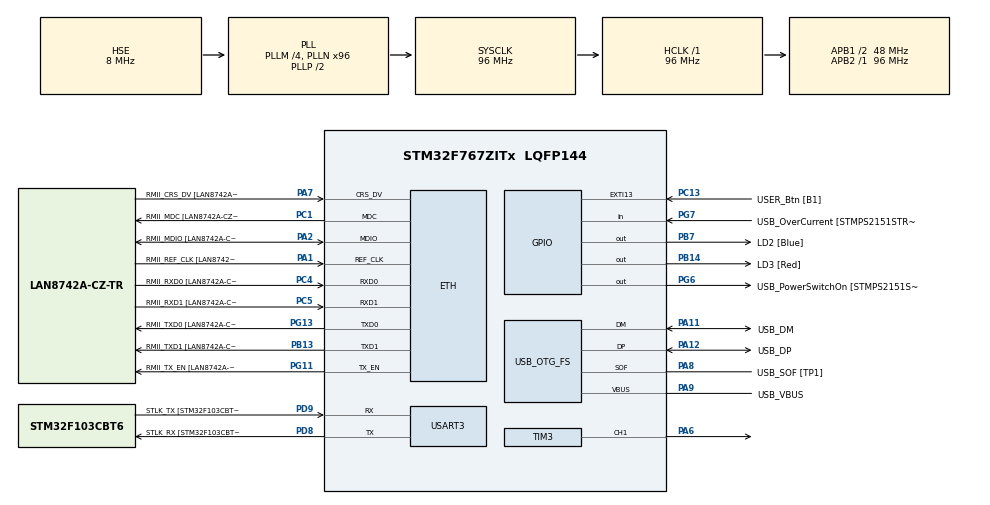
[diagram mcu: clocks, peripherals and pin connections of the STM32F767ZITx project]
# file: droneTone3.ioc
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ETH.MediaInterface=ETH_MEDIA_INTERFACE_RMII
ETH.PHY_Name=LAN8742A_PHY_ADDRESS
ETH.PHY_Value=0
ETH.PhyAddress=0
Mcu.Family=STM32F7
Mcu.Name=STM32F767ZITx
Mcu.Package=LQFP144
NVIC.PriorityGroup=NVIC_PRIORITYGROUP_4
PA1.GPIO_Label=RMII_REF_CLK [LAN8742A-CZ-TR_REFCLK0]
PA1.Mode=RMII
PA1.Signal=ETH_REF_CLK
PA10.GPIO_Label=USB_ID
PA10.Signal=USB_OTG_FS_ID
PA11.GPIO_Label=USB_DM
PA11.Mode=Device_Only
PA11.Signal=USB_OTG_FS_DM
PA12.GPIO_Label=USB_DP
PA12.Mode=Device_Only
PA12.Signal=USB_OTG_FS_DP
PA13.GPIO_Label=TMS
PA13.Mode=Serial_Wire
PA13.Signal=SYS_JTMS-SWDIO
PA14.GPIO_Label=TCK
PA14.Mode=Serial_Wire
PA14.Signal=SYS_JTCK-SWCLK
PA2.GPIO_Label=RMII_MDIO [LAN8742A-CZ-TR_MDIO]
PA2.Mode=RMII
PA2.Signal=ETH_MDIO
PA6.Signal=S_TIM3_CH1
PA7.GPIO_Label=RMII_CRS_DV [LAN8742A-CZ-TR_CRS_DV]
PA7.Mode=RMII
PA7.Signal=ETH_CRS_DV
PA8.GPIO_Label=USB_SOF [TP1]
PA8.Mode=Activate_SOF_FS
PA8.Signal=USB_OTG_FS_SOF
PA9.GPIO_Label=USB_VBUS
PA9.Mode=Activate_VBUS
PA9.Signal=USB_OTG_FS_VBUS
PB13.GPIO_Label=RMII_TXD1 [LAN8742A-CZ-TR_TXD1]
PB13.Mode=RMII
PB13.Signal=ETH_TXD1
PB14.GPIO_Label=LD3 [Red]
PB14.Signal=GPIO_Output
PB3.GPIO_Label=SWO
PB3.Signal=SYS_JTDO-SWO
PB7.GPIO_Label=LD2 [Blue]
PB7.Signal=GPIO_Output
PC1.GPIO_Label=RMII_MDC [LAN8742A-CZ-TR_MDC]
PC1.Mode=RMII
PC1.Signal=ETH_MDC
PC13.GPIO_Label=USER_Btn [B1]
PC13.Signal=GPXTI13
PC14/OSC32_IN.Mode=LSE-External-Oscillator
PC14/OSC32_IN.Signal=RCC_OSC32_IN
PC15/OSC32_OUT.Mode=LSE-External-Oscillator
PC15/OSC32_OUT.Signal=RCC_OSC32_OUT
PC4.GPIO_Label=RMII_RXD0 [LAN8742A-CZ-TR_RXD0]
PC4.Mode=RMII
PC4.Signal=ETH_RXD0
PC5.GPIO_Label=RMII_RXD1 [LAN8742A-CZ-TR_RXD1]
PC5.Mode=RMII
PC5.Signal=ETH_RXD1
PD8.GPIO_Label=STLK_RX [STM32F103CBT6_PA3]
PD8.Mode=Asynchronous
PD8.Signal=USART3_TX
PD9.GPIO_Label=STLK_TX [STM32F103CBT6_PA2]
PD9.Mode=Asynchronous
PD9.Signal=USART3_RX
PG11.GPIO_Label=RMII_TX_EN [LAN8742A-CZ-TR_TXEN]
PG11.Mode=RMII
PG11.Signal=ETH_TX_EN
PG13.GPIO_Label=RMII_TXD0 [LAN8742A-CZ-TR_TXD0]
PG13.Mode=RMII
PG13.Signal=ETH_TXD0
PG6.GPIO_Label=USB_PowerSwitchOn [STMPS2151STR_EN]
PG6.Signal=GPIO_Output
PG7.GPIO_Label=USB_OverCurrent [STMPS2151STR_FAULT]
PG7.Signal=GPIO_Input
PH0/OSC_IN.GPIO_Label=MCO [STM32F103CBT6_PA8]
PH0/OSC_IN.Mode=HSE-External-Clock-Source
PH0/OSC_IN.Signal=RCC_OSC_IN
PH1/OSC_OUT.Mode=HSE-External-Clock-Source
PH1/OSC_OUT.Signal=RCC_OSC_OUT
ProjectManager.HeapSize=0x200
ProjectManager.StackSize=0x400
ProjectManager.TargetToolchain=EWARM V8
RCC.48MHZClocksFreq_Value=24000000
RCC.AHBFreq_Value=96000000
RCC.APB1CLKDivider=RCC_HCLK_DIV2
RCC.APB1Freq_Value=48000000
RCC.APB1TimFreq_Value=96000000
RCC.APB2Freq_Value=96000000
RCC.APB2TimFreq_Value=96000000
RCC.CortexFreq_Value=96000000
RCC.HCLKFreq_Value=96000000
RCC.HSE_VALUE=8000000
RCC.HSI_VALUE=16000000
RCC.PLLM=4
RCC.PLLMUL=RCC_PLL_MUL9
RCC.PLLN=96
RCC.PLLQ=4
RCC.PRESCALERUSB=RCC_USBCLKSOURCE_PLL_DIV1_5
RCC.SYSCLKFreq_VALUE=96000000
RCC.SYSCLKSource=RCC_SYSCLKSOURCE_PLLCLK
RCC.SYSCLKSourceVirtual=RCC_SYSCLKSOURCE_PLLCLK
RCC.USBFreq_Value=48000000
RCC.VCOOutputFreq_Value=192000000
SH.S_TIM3_CH1.0=TIM3_CH1,PWM Generation1 CH1
TIM3.AutoReloadPreload=TIM_AUTORELOAD_PRELOAD_ENABLE
TIM3.Channel-PWM\ Generation1\ CH1=TIM_CHANNEL_1
TIM3.OCFastMode_PWM-PWM\ Generation1\ CH1=TIM_OCFAST_ENABLE
TIM3.Period=200
TIM3.Prescaler=4800
TIM3.Pulse-PWM\ Generation1\ CH1=100
USART3.VirtualMode-Asynchronous=VM_ASYNC
USB_OTG_FS.VirtualMode=Device_Only
VP_TIM3_VS_ClockSourceINT.Mode=Internal
board=NUCLEO-F767ZI

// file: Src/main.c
/* USER CODE BEGIN Header */
/**
  ******************************************************************************
  * @file           : main.c
  * @brief          : Main program body
  ******************************************************************************
  * @attention
  *
  * <h2><center>&copy; Copyright (c) 2020 STMicroelectronics.
  * All rights reserved.</center></h2>
  *
  * This software component is licensed by ST under BSD 3-Clause license,
  * the "License"; You may not use this file except in compliance with the
  * License. You may obtain a copy of the License at:
  *                        opensource.org/licenses/BSD-3-Clause
  *
  ******************************************************************************
  */
/* USER CODE END Header */

#include "main.h"

ETH_HandleTypeDef heth;

TIM_HandleTypeDef htim3;

UART_HandleTypeDef huart3;

PCD_HandleTypeDef hpcd_USB_OTG_FS;

void SystemClock_Config(void);
static void MX_GPIO_Init(void);
static void MX_ETH_Init(void);
static void MX_TIM3_Init(void);
static void MX_USART3_UART_Init(void);
static void MX_USB_OTG_FS_PCD_Init(void);
/* USER CODE BEGIN PFP */
void Tone1();
void Tone2();
void Tone3();
/* USER CODE END PFP */

int main(void)
{

  /* MCU Configuration--------------------------------------------------------*/

  /* Reset of all peripherals, Initializes the Flash interface and the Systick. */
  HAL_Init();

  /* Configure the system clock */
  SystemClock_Config();

  /* Initialize all configured peripherals */
  MX_GPIO_Init();
  MX_ETH_Init();
  MX_TIM3_Init();
  MX_USART3_UART_Init();
  MX_USB_OTG_FS_PCD_Init();

  /* Infinite loop */
  /* USER CODE BEGIN WHILE */

  while (1)
  {
    /*
    for(int i = 0; i < 200; i++)
    {
      HAL_TIM_PWM_Start(&htim3, TIM_CHANNEL_1);
      __HAL_TIM_SetCompare(&htim3,TIM_CHANNEL_1,i);
      HAL_Delay(100);
    }
    */
    Tone1();
    Tone2();
    /* USER CODE END WHILE */

  }
}

void SystemClock_Config(void)
{
  RCC_OscInitTypeDef RCC_OscInitStruct = {0};
  RCC_ClkInitTypeDef RCC_ClkInitStruct = {0};
  RCC_PeriphCLKInitTypeDef PeriphClkInitStruct = {0};

  /** Configure LSE Drive Capability
  */
  HAL_PWR_EnableBkUpAccess();
  /** Configure the main internal regulator output voltage
  */
  __HAL_RCC_PWR_CLK_ENABLE();
  __HAL_PWR_VOLTAGESCALING_CONFIG(PWR_REGULATOR_VOLTAGE_SCALE3);
  /** Initializes the CPU, AHB and APB busses clocks
  */
  RCC_OscInitStruct.OscillatorType = RCC_OSCILLATORTYPE_HSE;
  RCC_OscInitStruct.HSEState = RCC_HSE_BYPASS;
  RCC_OscInitStruct.PLL.PLLState = RCC_PLL_ON;
  RCC_OscInitStruct.PLL.PLLSource = RCC_PLLSOURCE_HSE;
  RCC_OscInitStruct.PLL.PLLM = 4;
  RCC_OscInitStruct.PLL.PLLN = 96;
  RCC_OscInitStruct.PLL.PLLP = RCC_PLLP_DIV2;
  RCC_OscInitStruct.PLL.PLLQ = 4;
  if (HAL_RCC_OscConfig(&RCC_OscInitStruct) != HAL_OK)
  {
    Error_Handler();
  }
  /** Activate the Over-Drive mode
  */
  if (HAL_PWREx_EnableOverDrive() != HAL_OK)
  {
    Error_Handler();
  }
  /** Initializes the CPU, AHB and APB busses clocks
  */
  RCC_ClkInitStruct.ClockType = RCC_CLOCKTYPE_HCLK|RCC_CLOCKTYPE_SYSCLK
                              |RCC_CLOCKTYPE_PCLK1|RCC_CLOCKTYPE_PCLK2;
  RCC_ClkInitStruct.SYSCLKSource = RCC_SYSCLKSOURCE_PLLCLK;
  RCC_ClkInitStruct.AHBCLKDivider = RCC_SYSCLK_DIV1;
  RCC_ClkInitStruct.APB1CLKDivider = RCC_HCLK_DIV2;
  RCC_ClkInitStruct.APB2CLKDivider = RCC_HCLK_DIV1;

  if (HAL_RCC_ClockConfig(&RCC_ClkInitStruct, FLASH_LATENCY_3) != HAL_OK)
  {
    Error_Handler();
  }
  PeriphClkInitStruct.PeriphClockSelection = RCC_PERIPHCLK_USART3|RCC_PERIPHCLK_CLK48;
  PeriphClkInitStruct.Usart3ClockSelection = RCC_USART3CLKSOURCE_PCLK1;
  PeriphClkInitStruct.Clk48ClockSelection = RCC_CLK48SOURCE_PLL;
  if (HAL_RCCEx_PeriphCLKConfig(&PeriphClkInitStruct) != HAL_OK)
  {
    Error_Handler();
  }
}

static void MX_ETH_Init(void)
{

   uint8_t MACAddr[6] ;

  heth.Instance = ETH;
  heth.Init.AutoNegotiation = ETH_AUTONEGOTIATION_ENABLE;
  heth.Init.PhyAddress = LAN8742A_PHY_ADDRESS;
  MACAddr[0] = 0x00;
  MACAddr[1] = 0x80;
  MACAddr[2] = 0xE1;
  MACAddr[3] = 0x00;
  MACAddr[4] = 0x00;
  MACAddr[5] = 0x00;
  heth.Init.MACAddr = &MACAddr[0];
  heth.Init.RxMode = ETH_RXPOLLING_MODE;
  heth.Init.ChecksumMode = ETH_CHECKSUM_BY_HARDWARE;
  heth.Init.MediaInterface = ETH_MEDIA_INTERFACE_RMII;

  if (HAL_ETH_Init(&heth) != HAL_OK)
  {
    Error_Handler();
  }

}

static void MX_TIM3_Init(void)
{

  TIM_ClockConfigTypeDef sClockSourceConfig = {0};
  TIM_MasterConfigTypeDef sMasterConfig = {0};
  TIM_OC_InitTypeDef sConfigOC = {0};

  htim3.Instance = TIM3;
  htim3.Init.Prescaler = 4800;
  htim3.Init.CounterMode = TIM_COUNTERMODE_UP;
  htim3.Init.Period = 200;
  htim3.Init.ClockDivision = TIM_CLOCKDIVISION_DIV1;
  htim3.Init.AutoReloadPreload = TIM_AUTORELOAD_PRELOAD_ENABLE;
  if (HAL_TIM_Base_Init(&htim3) != HAL_OK)
  {
    Error_Handler();
  }
  sClockSourceConfig.ClockSource = TIM_CLOCKSOURCE_INTERNAL;
  if (HAL_TIM_ConfigClockSource(&htim3, &sClockSourceConfig) != HAL_OK)
  {
    Error_Handler();
  }
  if (HAL_TIM_PWM_Init(&htim3) != HAL_OK)
  {
    Error_Handler();
  }
  sMasterConfig.MasterOutputTrigger = TIM_TRGO_RESET;
  sMasterConfig.MasterSlaveMode = TIM_MASTERSLAVEMODE_DISABLE;
  if (HAL_TIMEx_MasterConfigSynchronization(&htim3, &sMasterConfig) != HAL_OK)
  {
    Error_Handler();
  }
  sConfigOC.OCMode = TIM_OCMODE_PWM1;
  sConfigOC.Pulse = 100;
  sConfigOC.OCPolarity = TIM_OCPOLARITY_HIGH;
  sConfigOC.OCFastMode = TIM_OCFAST_ENABLE;
  if (HAL_TIM_PWM_ConfigChannel(&htim3, &sConfigOC, TIM_CHANNEL_1) != HAL_OK)
  {
    Error_Handler();
  }
  HAL_TIM_MspPostInit(&htim3);

}

static void MX_USART3_UART_Init(void)
{

  huart3.Instance = USART3;
  huart3.Init.BaudRate = 115200;
  huart3.Init.WordLength = UART_WORDLENGTH_8B;
  huart3.Init.StopBits = UART_STOPBITS_1;
  huart3.Init.Parity = UART_PARITY_NONE;
  huart3.Init.Mode = UART_MODE_TX_RX;
  huart3.Init.HwFlowCtl = UART_HWCONTROL_NONE;
  huart3.Init.OverSampling = UART_OVERSAMPLING_16;
  huart3.Init.OneBitSampling = UART_ONE_BIT_SAMPLE_DISABLE;
  huart3.AdvancedInit.AdvFeatureInit = UART_ADVFEATURE_NO_INIT;
  if (HAL_UART_Init(&huart3) != HAL_OK)
  {
    Error_Handler();
  }

}

static void MX_USB_OTG_FS_PCD_Init(void)
{

  hpcd_USB_OTG_FS.Instance = USB_OTG_FS;
  hpcd_USB_OTG_FS.Init.dev_endpoints = 6;
  hpcd_USB_OTG_FS.Init.speed = PCD_SPEED_FULL;
  hpcd_USB_OTG_FS.Init.dma_enable = DISABLE;
  hpcd_USB_OTG_FS.Init.phy_itface = PCD_PHY_EMBEDDED;
  hpcd_USB_OTG_FS.Init.Sof_enable = ENABLE;
  hpcd_USB_OTG_FS.Init.low_power_enable = DISABLE;
  hpcd_USB_OTG_FS.Init.lpm_enable = DISABLE;
  hpcd_USB_OTG_FS.Init.vbus_sensing_enable = ENABLE;
  hpcd_USB_OTG_FS.Init.use_dedicated_ep1 = DISABLE;
  if (HAL_PCD_Init(&hpcd_USB_OTG_FS) != HAL_OK)
  {
    Error_Handler();
  }

}

static void MX_GPIO_Init(void)
{
  GPIO_InitTypeDef GPIO_InitStruct = {0};

  /* GPIO Ports Clock Enable */
  __HAL_RCC_GPIOC_CLK_ENABLE();
  __HAL_RCC_GPIOH_CLK_ENABLE();
  __HAL_RCC_GPIOA_CLK_ENABLE();
  __HAL_RCC_GPIOB_CLK_ENABLE();
  __HAL_RCC_GPIOD_CLK_ENABLE();
  __HAL_RCC_GPIOG_CLK_ENABLE();

  /*Configure GPIO pin Output Level */
  HAL_GPIO_WritePin(GPIOB, LD3_Pin|LD2_Pin, GPIO_PIN_RESET);

  /*Configure GPIO pin Output Level */
  HAL_GPIO_WritePin(USB_PowerSwitchOn_GPIO_Port, USB_PowerSwitchOn_Pin, GPIO_PIN_RESET);

  /*Configure GPIO pin : USER_Btn_Pin */
  GPIO_InitStruct.Pin = USER_Btn_Pin;
  GPIO_InitStruct.Mode = GPIO_MODE_IT_RISING;
  GPIO_InitStruct.Pull = GPIO_NOPULL;
  HAL_GPIO_Init(USER_Btn_GPIO_Port, &GPIO_InitStruct);

  /*Configure GPIO pins : LD3_Pin LD2_Pin */
  GPIO_InitStruct.Pin = LD3_Pin|LD2_Pin;
  GPIO_InitStruct.Mode = GPIO_MODE_OUTPUT_PP;
  GPIO_InitStruct.Pull = GPIO_NOPULL;
  GPIO_InitStruct.Speed = GPIO_SPEED_FREQ_LOW;
  HAL_GPIO_Init(GPIOB, &GPIO_InitStruct);

  /*Configure GPIO pin : USB_PowerSwitchOn_Pin */
  GPIO_InitStruct.Pin = USB_PowerSwitchOn_Pin;
  GPIO_InitStruct.Mode = GPIO_MODE_OUTPUT_PP;
  GPIO_InitStruct.Pull = GPIO_NOPULL;
  GPIO_InitStruct.Speed = GPIO_SPEED_FREQ_LOW;
  HAL_GPIO_Init(USB_PowerSwitchOn_GPIO_Port, &GPIO_InitStruct);

  /*Configure GPIO pin : USB_OverCurrent_Pin */
  GPIO_InitStruct.Pin = USB_OverCurrent_Pin;
  GPIO_InitStruct.Mode = GPIO_MODE_INPUT;
  GPIO_InitStruct.Pull = GPIO_NOPULL;
  HAL_GPIO_Init(USB_OverCurrent_GPIO_Port, &GPIO_InitStruct);

}

/* USER CODE BEGIN 4 */
void Tone1()
{
  for(int j = 0; j < 10; j++)
  {
    HAL_TIM_PWM_Start(&htim3, TIM_CHANNEL_1);
    __HAL_TIM_SetCompare(&htim3, TIM_CHANNEL_1,1000);
    HAL_Delay(500);
    __HAL_TIM_SetCompare(&htim3, TIM_CHANNEL_1,0);
    HAL_Delay(500);
  }
}

void Tone2()
{
  for(int j = 0; j < 10; j++)
  {
    HAL_TIM_PWM_Start(&htim3, TIM_CHANNEL_1);
    __HAL_TIM_SetCompare(&htim3, TIM_CHANNEL_1,1000);
    HAL_Delay(200);
    __HAL_TIM_SetCompare(&htim3, TIM_CHANNEL_1,0);
    HAL_Delay(200);
    __HAL_TIM_SetCompare(&htim3, TIM_CHANNEL_1,1000);
    HAL_Delay(200);
    __HAL_TIM_SetCompare(&htim3, TIM_CHANNEL_1,0);
    HAL_Delay(1000);
  }
}

void Tone3()
{
  for(int j = 0; j < 10; j++)
  {
    HAL_TIM_PWM_Start(&htim3, TIM_CHANNEL_1);
    __HAL_TIM_SetCompare(&htim3, TIM_CHANNEL_1,1000);
    HAL_Delay(500);
    __HAL_TIM_SetCompare(&htim3, TIM_CHANNEL_1,0);
    HAL_Delay(500);
  }
}
/* USER CODE END 4 */

void Error_Handler(void)
{
}

/************************ (C) COPYRIGHT STMicroelectronics *****END OF FILE****/
